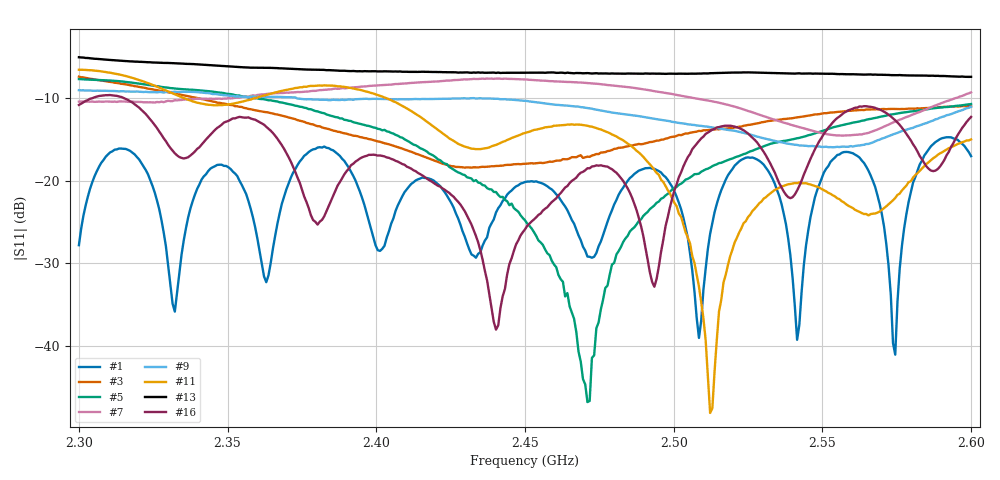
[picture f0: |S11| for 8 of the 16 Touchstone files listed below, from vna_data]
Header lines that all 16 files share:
! NanoVNA-App
! Start: 2.3GHz Stop: 2.6GHz Points: 401
! S-Parameter data: F S11
# Hz S RI R 50
!  Frequency  S11_Real  S11_Imag
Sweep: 2.3 GHz to 2.6 GHz
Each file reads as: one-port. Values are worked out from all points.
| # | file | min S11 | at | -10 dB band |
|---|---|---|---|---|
| 1 | BF-Cable-02-2.4ghz.s1p | -41.1 dB | 2.575 GHz | over 300 MHz wide |
| 2 | BFD-01-2.4ghz.s1p | -17.0 dB | 2.467 GHz | over 235.3 MHz wide |
| 3 | BFD-05-2.4ghz.s1p | -18.4 dB | 2.43 GHz | over 260.3 MHz wide |
| 4 | BFD-06-2.4ghz.s1p | -29.7 dB | 2.463 GHz | over 267.2 MHz wide |
| 5 | biscuitultra-1-2.4ghz.s1p | -46.8 dB | 2.471 GHz | over 241.2 MHz wide |
| 6 | biscuitultra-2-2.4ghz.s1p | -35.7 dB | 2.463 GHz | over 250.6 MHz wide |
| 7 | bpi-03-2.4ghz.s1p | -14.6 dB | 2.557 GHz | 88.59 MHz wide |
| 8 | bpi-05-2.4ghz.s1p | -18.9 dB | 2.527 GHz | 133.7 MHz wide |
| 9 | bpi-06-2.4ghz.s1p | -16.0 dB | 2.554 GHz | over 226.9 MHz wide |
| 10 | D3-01-2.4ghz.s1p | -15.2 dB | 2.488 GHz | 148.3 MHz wide |
| 11 | dstikedish-01-2.4ghz.s1p | -48.1 dB | 2.512 GHz | over 196.9 MHz wide |
| 12 | EW - 03-2.4ghz.s1p | -7.0 dB | 2.6 GHz | - |
| 13 | EW - 04-2.4ghz.s1p | -7.5 dB | 2.599 GHz | - |
| 14 | HF-05-2.4ghz.s1p | -25.3 dB | 2.469 GHz | over 264 MHz wide |
| 15 | HF-06-2.4ghz.s1p | -35.6 dB | 2.489 GHz | over 199.8 MHz wide |
| 16 | MIMO2-01-2.4ghz.s1p | -38.0 dB | 2.44 GHz | over 285 MHz wide |
